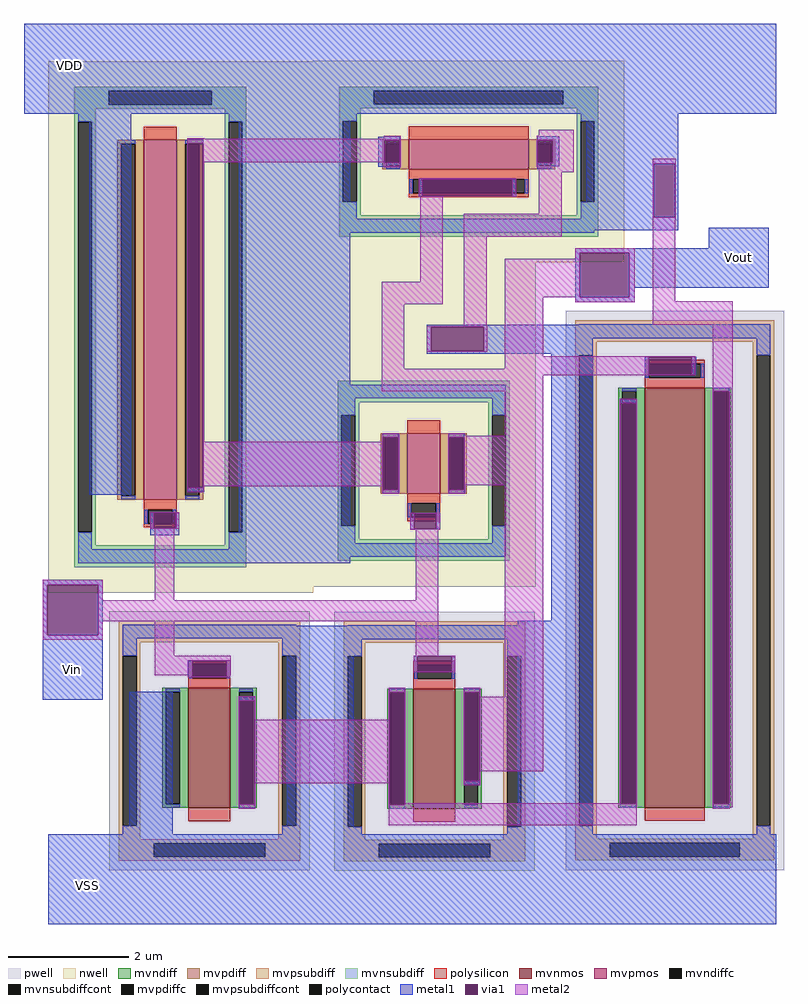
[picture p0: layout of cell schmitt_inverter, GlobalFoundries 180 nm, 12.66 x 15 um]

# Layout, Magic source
magic
tech gf180mcuD
magscale 1 10
<< nwell >>
rect 1353 -110 1490 561
rect 1353 -418 2231 -110
rect 1353 -1211 1490 -418
<< metal1 >>
rect 526 385 3034 685
rect 744 -884 883 385
rect 1072 288 1124 300
rect 1072 -872 1124 -860
rect 946 -996 958 -944
rect 1032 -996 1044 -944
rect 946 -1019 1044 -996
rect 1242 -1112 1614 385
rect 1727 309 1779 310
rect 1706 297 1779 309
rect 1706 223 1727 297
rect 1706 209 1779 223
rect 2237 297 2310 310
rect 2289 223 2310 297
rect 2237 210 2310 223
rect 2400 219 2706 385
rect 1841 111 1853 167
rect 2154 111 2166 167
rect 2400 41 2625 219
rect 2696 41 2706 219
rect 2400 -2 2706 41
rect 2808 -62 3008 6
rect 2364 -77 3008 -62
rect 2364 -226 2379 -77
rect 2543 -194 3008 -77
rect 2543 -226 2561 -194
rect 2364 -243 2561 -226
rect 1869 -325 2420 -317
rect 1869 -406 1883 -325
rect 2058 -329 2420 -325
rect 2058 -406 2421 -329
rect 1869 -414 2421 -406
rect 1722 -693 1774 -681
rect 1722 -879 1774 -867
rect 1942 -693 1994 -681
rect 1942 -879 1994 -867
rect 1813 -998 1826 -946
rect 1900 -998 1913 -946
rect 1813 -999 1913 -998
rect 589 -1184 789 -1168
rect 589 -1352 604 -1184
rect 773 -1352 789 -1184
rect 2284 -1304 2421 -414
rect 2595 -484 2608 -425
rect 2751 -484 2767 -425
rect 2824 -540 2876 -528
rect 589 -1568 789 -1352
rect 1072 -1490 1087 -1438
rect 1201 -1490 1214 -1438
rect 877 -2015 1021 -1541
rect 1243 -1571 1297 -1559
rect 1295 -1915 1297 -1571
rect 1243 -1927 1297 -1915
rect 1401 -2015 1625 -1320
rect 1825 -1474 1837 -1422
rect 1951 -1474 1963 -1422
rect 1743 -1543 1795 -1531
rect 1993 -1543 2045 -1531
rect 1993 -1850 2045 -1837
rect 1743 -1930 1795 -1917
rect 2171 -2015 2421 -1304
rect 2514 -580 2566 -568
rect 2514 -1926 2566 -1914
rect 2824 -1926 2876 -1914
rect 607 -2315 3034 -2015
<< via1 >>
rect 1072 -860 1124 288
rect 958 -996 1032 -944
rect 1727 223 1779 297
rect 2237 223 2289 297
rect 1853 111 2154 167
rect 2625 41 2696 219
rect 2379 -226 2543 -77
rect 1883 -406 2058 -325
rect 1722 -867 1774 -693
rect 1942 -867 1994 -693
rect 1826 -998 1900 -946
rect 604 -1352 773 -1184
rect 2608 -484 2751 -425
rect 1087 -1490 1201 -1438
rect 1243 -1915 1295 -1571
rect 1837 -1474 1951 -1422
rect 1743 -1917 1795 -1543
rect 1993 -1837 2045 -1543
rect 2514 -1914 2566 -580
rect 2824 -1914 2876 -540
<< metal2 >>
rect 2242 313 2359 333
rect 1070 303 1126 304
rect 1725 303 1781 313
rect 1070 297 1781 303
rect 1070 288 1727 297
rect 1070 -860 1072 288
rect 1124 224 1727 288
rect 1124 -707 1126 224
rect 1725 223 1727 224
rect 1779 223 1781 297
rect 1725 207 1781 223
rect 2235 297 2359 313
rect 2235 223 2237 297
rect 2289 223 2359 297
rect 2235 207 2359 223
rect 2242 190 2359 207
rect 2622 219 2698 236
rect 1841 167 2166 170
rect 1841 111 1853 167
rect 2154 111 2166 167
rect 1841 109 2166 111
rect 1847 -175 1921 109
rect 2242 52 2318 190
rect 1719 -249 1921 -175
rect 1992 -24 2318 52
rect 2622 41 2625 219
rect 2696 41 2698 219
rect 2622 33 2698 41
rect 1719 -465 1793 -249
rect 1992 -322 2068 -24
rect 2364 -77 2561 -62
rect 2364 -97 2379 -77
rect 2128 -226 2379 -97
rect 2543 -226 2561 -77
rect 1869 -325 2070 -322
rect 1869 -406 1883 -325
rect 2058 -406 2070 -325
rect 1869 -408 2070 -406
rect 2128 -422 2257 -226
rect 2364 -243 2561 -226
rect 2622 -239 2696 33
rect 2622 -317 2889 -239
rect 2128 -425 2764 -422
rect 2128 -465 2608 -425
rect 1719 -484 2608 -465
rect 2751 -484 2764 -425
rect 1719 -486 2764 -484
rect 1719 -539 2257 -486
rect 1720 -693 1776 -680
rect 1720 -707 1722 -693
rect 1124 -855 1722 -707
rect 1124 -860 1126 -855
rect 1070 -876 1126 -860
rect 1720 -867 1722 -855
rect 1774 -867 1776 -693
rect 1720 -880 1776 -867
rect 1940 -687 1996 -680
rect 2128 -687 2257 -539
rect 2822 -540 2889 -317
rect 1940 -693 2257 -687
rect 1940 -867 1942 -693
rect 1994 -853 2257 -693
rect 1994 -867 1996 -853
rect 1940 -880 1996 -867
rect 946 -944 1044 -942
rect 946 -996 958 -944
rect 1032 -996 1044 -944
rect 946 -998 1044 -996
rect 1813 -946 1913 -944
rect 1813 -998 1826 -946
rect 1900 -998 1913 -946
rect 589 -1184 789 -1168
rect 589 -1352 604 -1184
rect 773 -1236 789 -1184
rect 961 -1236 1026 -998
rect 1813 -1000 1913 -998
rect 1832 -1236 1907 -1000
rect 773 -1305 1907 -1236
rect 773 -1352 789 -1305
rect 589 -1368 789 -1352
rect 961 -1421 1026 -1305
rect 1832 -1420 1907 -1305
rect 961 -1438 1215 -1421
rect 961 -1486 1087 -1438
rect 1072 -1490 1087 -1486
rect 1201 -1486 1215 -1438
rect 1825 -1422 1963 -1420
rect 1825 -1474 1837 -1422
rect 1951 -1474 1963 -1422
rect 1825 -1476 1963 -1474
rect 1201 -1490 1214 -1486
rect 1072 -1492 1214 -1490
rect 1741 -1543 1797 -1527
rect 1241 -1571 1297 -1555
rect 1241 -1915 1243 -1571
rect 1295 -1634 1297 -1571
rect 1741 -1634 1743 -1543
rect 1295 -1846 1743 -1634
rect 1295 -1915 1297 -1846
rect 1241 -1931 1297 -1915
rect 1741 -1917 1743 -1846
rect 1795 -1912 1797 -1543
rect 1991 -1543 2047 -1527
rect 1991 -1837 1993 -1543
rect 2045 -1557 2047 -1543
rect 2128 -1557 2257 -853
rect 2045 -1805 2257 -1557
rect 2512 -580 2568 -564
rect 2045 -1837 2047 -1805
rect 1991 -1853 2047 -1837
rect 2512 -1912 2514 -580
rect 1795 -1914 2514 -1912
rect 2566 -1914 2568 -580
rect 1795 -1917 2568 -1914
rect 1741 -1985 2568 -1917
rect 2822 -1914 2824 -540
rect 2876 -1914 2889 -540
rect 2822 -1926 2889 -1914
rect 2822 -1930 2878 -1926
use nmos_6p0_L3YBEV  X6 primitives
transform 1 0 2695 0 1 -1203
box -364 -932 364 932
use pmos_6p0_9YEQN4  XM1 primitives
transform 1 0 985 0 1 -325
box -378 -886 368 886
use nmos_6p0_BJPB5U  XM3 primitives
transform 1 0 1144 0 1 -1704
box -334 -432 334 432
use pmos_6p0_9859UL  XM5 primitives
transform 1 0 2008 0 1 226
box -518 -336 518 336
use nmos_6p0_BJPB5U  nmos_6p0_BJPB5U_0
transform 1 0 1894 0 1 -1706
box -334 -432 334 432
use pmos_6p0_UXEQNM  pmos_6p0_UXEQNM_0 primitives
transform 1 0 1863 0 1 -804
box -378 -386 368 386
<< labels >>
flabel metal1 577 445 777 645 0 FreeSans 1280 0 0 0 VDD
port 0 nsew
flabel metal1 639 -2288 839 -2088 0 FreeSans 1280 0 0 0 VSS
port 1 nsew
flabel metal1 2808 -194 3008 6 0 FreeSans 1280 0 0 0 Vout
port 3 nsew
flabel metal1 589 -1568 789 -1368 0 FreeSans 1280 0 0 0 Vin
port 2 nsew
<< end >>

# cell nmos_6p0_L3YBEV: kit device nmos_6p0, w 7.0 l 1.0 m 1 nf 1 diffcov 100 polycov 100 guard 1 glc 1 grc 1 gtc 0 gbc 1 tbcov 100 rlcov 100 topc 1 botc 0 poverlap 0 doverlap 1 lmin 0.6 wmin 0.3 full_metal 1 compatible {nmos_3p3 nmos_6p0 nmos_6p0_nat}

# cell pmos_6p0_9YEQN4: kit device pmos_6p0, w 6.0 l 0.5 m 1 nf 1 diffcov 100 polycov 100 guard 1 glc 1 grc 1 gtc 1 gbc 0 tbcov 100 rlcov 100 topc 0 botc 1 poverlap 0 doverlap 1 lmin 0.5 wmin 0.3 full_metal 1 compatible {pmos_3p3 pmos_6p0}

# cell nmos_6p0_BJPB5U: kit device nmos_6p0, w 2.0 l 0.7 m 1 nf 1 diffcov 100 polycov 100 guard 1 glc 1 grc 1 gtc 0 gbc 1 tbcov 100 rlcov 100 topc 1 botc 0 poverlap 0 doverlap 1 lmin 0.6 wmin 0.3 full_metal 1 compatible {nmos_3p3 nmos_6p0 nmos_6p0_nat}

# cell pmos_6p0_9859UL: kit device pmos_6p0, w 0.5 l 2.0 m 1 nf 1 diffcov 100 polycov 100 guard 1 glc 1 grc 1 gtc 1 gbc 0 tbcov 100 rlcov 100 topc 0 botc 1 poverlap 0 doverlap 1 lmin 0.5 wmin 0.3 full_metal 1 compatible {pmos_3p3 pmos_6p0}

# cell pmos_6p0_UXEQNM: kit device pmos_6p0, w 1 l 0.5 m 1 nf 1 diffcov 100 polycov 100 guard 1 glc 1 grc 1 gtc 0 gbc 0 tbcov 100 rlcov 100 topc 0 botc 1 poverlap 0 doverlap 1 lmin 0.5 wmin 0.3 full_metal 1 compatible {pmos_3p3 pmos_6p0}
